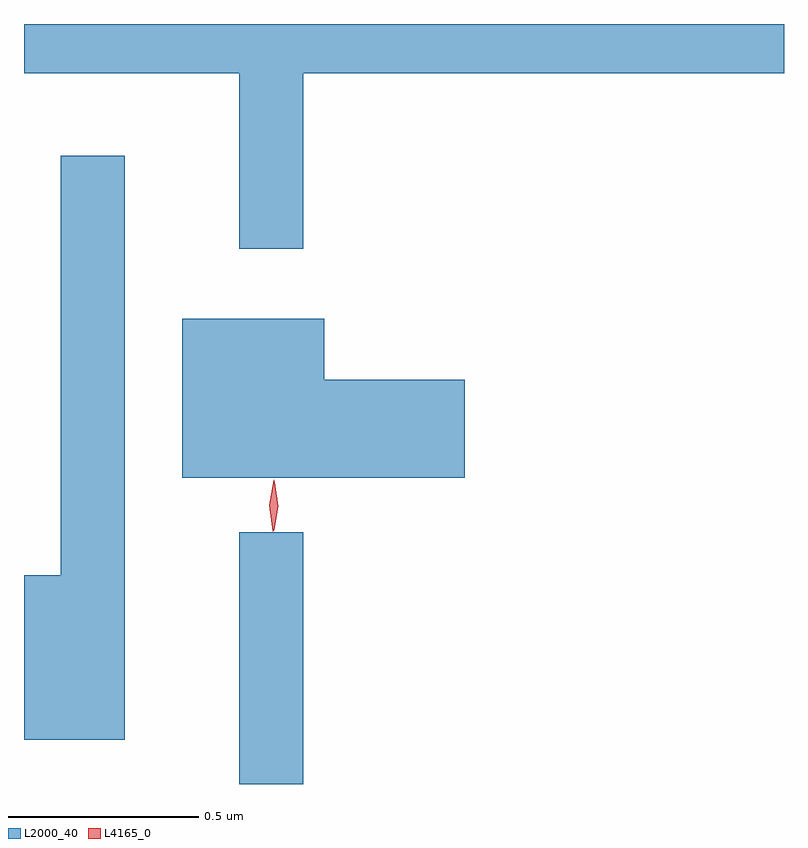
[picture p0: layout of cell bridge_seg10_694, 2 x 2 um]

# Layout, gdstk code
import gdstk
lib = gdstk.Library(unit=1e-6, precision=1e-09)
def R(c, l, rs):  # rectangles x0, y0, x1, y1
    for r in rs: c.add(gdstk.rectangle(r[:2], r[2:], *l))
def P(c, l, *ps):  # polygons
    for p in ps: c.add(gdstk.Polygon(p, *l))
L2000_40 = (2000, 40)
L4165_0 = (4165, 0)

bridge_seg10_694 = lib.new_cell('bridge_seg10_694')
R(bridge_seg10_694, L2000_40, [(1011.141,2096.505,1011.309,2097.168)])
P(bridge_seg10_694, L2000_40, [(1011.309,2098.376),(1012.574,2098.376),(1012.574,2098.505),(1010.574,2098.505),(1010.574,2098.376),(1011.141,2098.376),(1011.141,2097.913),(1011.309,2097.913)],
  [(1010.839,2098.158),(1010.671,2098.158),(1010.671,2097.054),(1010.574,2097.054),(1010.574,2096.621),(1010.839,2096.621)],
  [(1011.734,2097.569),(1011.364,2097.569),(1011.364,2097.729),(1010.991,2097.729),(1010.991,2097.311),(1011.734,2097.311)])
P(bridge_seg10_694, L4165_0, [(1011.231,2097.173),(1011.223,2097.236),(1011.233,2097.299),(1011.234,2097.3),(1011.234,2097.299),(1011.243,2097.236),(1011.232,2097.173),(1011.232,2097.173)],
  [(1011.229,2097.17),(1011.229,2097.17),(1011.22,2097.238),(1011.231,2097.305),(1011.231,2097.306),(1011.232,2097.305),(1011.24,2097.238),(1011.23,2097.17)])

lib.write_gds('bridge_seg10_694.gds')
